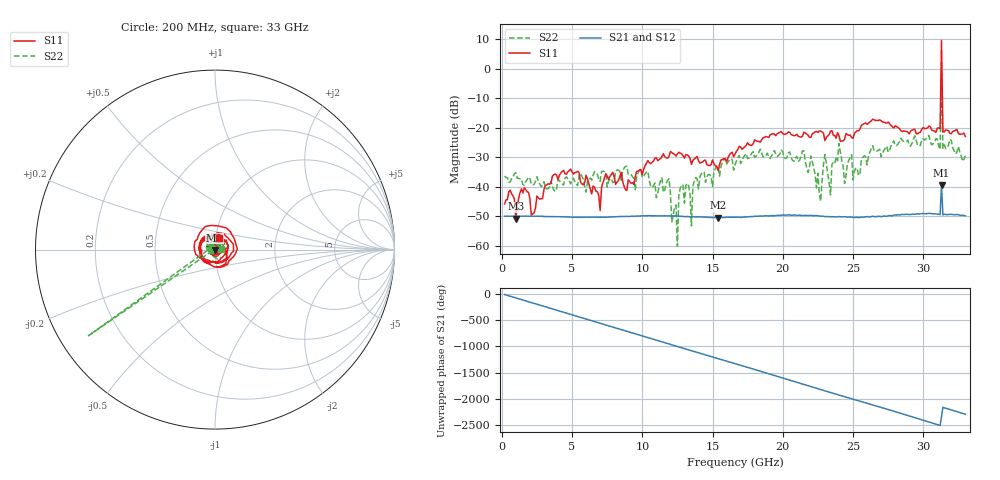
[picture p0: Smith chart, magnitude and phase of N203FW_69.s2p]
# GHZ S RI R 50
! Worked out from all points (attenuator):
!   329 points, 200 MHz to 33 GHz, reference 50 ohm
!   highest |S21| = -39.47 dB at 31.3 GHz (marker M1); lowest = -50.4 dB at 15.4 GHz (marker M2)
!   lowest |S11| = -50.8 dB at 1 GHz (marker M3), VSWR 1.01, Z = 49.8 - j0.204 ohm
!   |S11| at or under -10 dB: start of sweep to 31.23 GHz; 31.36 GHz to end of sweep
!   |S22| runs from -60.0 to -1.4 dB; largest |S21 - S12| = 0.00034
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0.2  0.00508 -0.000883  0.00306 -0.000894  0.00307 -0.000887  -0.015 0.00269
1  -0.00204 -0.00204  0.00053 -0.00315  0.00052 -0.00315  -0.0113 0.0132
5.7  0.00475 0.0101  -0.000407 -0.00304  -0.000424 -0.00305  0.00508 -0.0143
11.2  0.00937 0.0272  -0.00324 -4.03e-05  -0.00325 -4.53e-05  -0.0104 -0.00065
11.9  0.0321 0.00498  -0.0018 0.00268  -0.00181 0.00268  -0.0105 0.00894
12.5  0.0179 -0.0313  0.000851 0.0031  0.000859 0.0031  0.000883 -0.000459
12.8  -0.00903 -0.0351  0.00202 0.00246  0.00202 0.00247  -0.00874 -0.00633
13.5  -0.0241 -0.000599  0.00309 -0.000272  0.0031 -0.000257  0.000793 -0.00204
13.8  -0.0285 0.0122  0.00271 -0.00151  0.00271 -0.00152  -0.0109 -0.00942
15.4  0.00655 -0.0178  -0.00276 -0.00122  -0.00276 -0.00121  -0.0221 -0.00303
16.6  -0.0292 0.0206  -0.000991 0.00291  -0.000985 0.0029  -0.0238 -0.000362
22.1  -0.0306 -0.0726  0.00299 0.00134  0.003 0.00134  0.0264 0.00238
22.7  -0.0868 0.0152  0.00292 -0.00134  0.00294 -0.00134  0.00339 0.00461
23  -0.042 0.0436  0.00207 -0.00235  0.00208 -0.00236  0.0346 -0.007
23.4  -0.0191 0.0855  0.000536 -0.00308  0.000521 -0.00308  -0.00595 0.00425
24  0.0728 0.0103  -0.00191 -0.00251  -0.00191 -0.0025  0.0144 -0.0522
24.4  0.0613 -0.018  -0.00292 -0.00109  -0.00295 -0.0011  -0.0112 -0.00245
27.6  0.1148 -0.0209  0.00201 -0.00259  0.00205 -0.00255  -0.0365 0.0208
31.2  0.00908 -0.0967  0.00331 0.000767  0.00333 0.000762  0.0338 0.0264
31.3  2.633 -1.423  -0.0106 -0.00123  -0.0103 -0.00105  -0.7053 -0.48
31.4  -0.0349 -0.0773  0.00335 -0.000186  0.00339 -0.000188  0.0201 0.0401
33  0.025 0.0667  -0.00221 -0.00237  -0.00221 -0.00235  0.0335 0.00285
